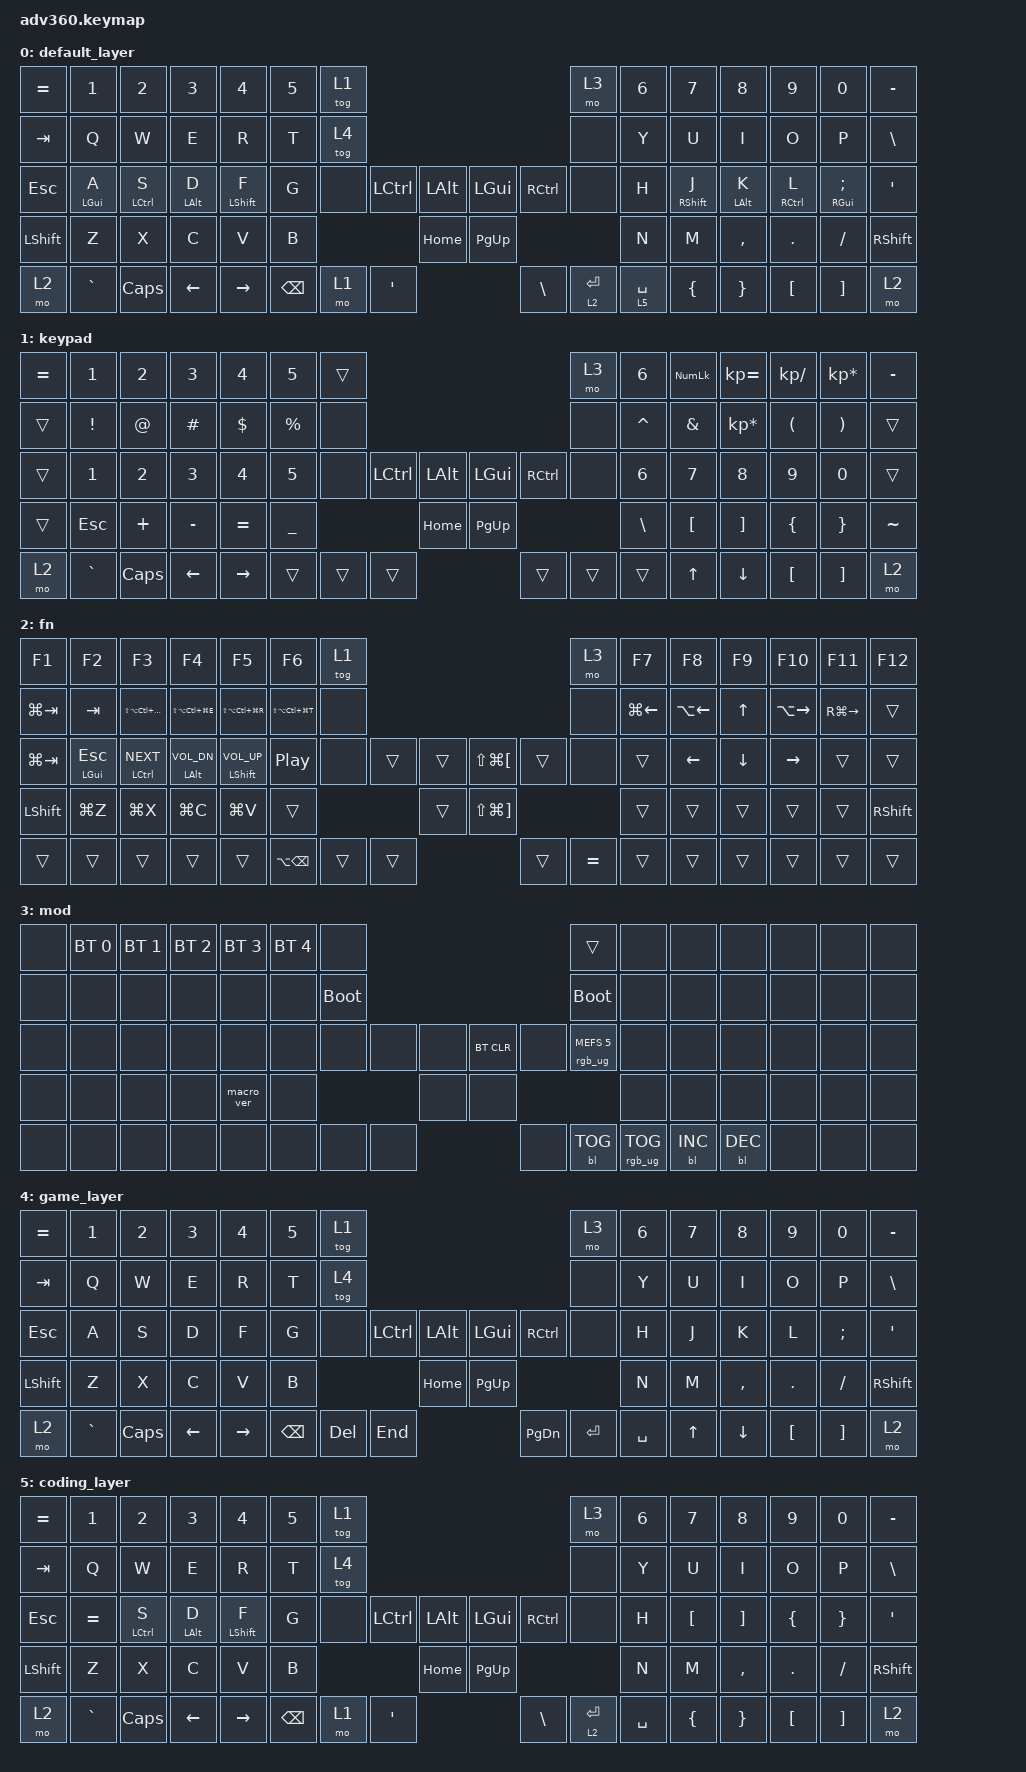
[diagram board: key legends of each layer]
#include <behaviors.dtsi>
#include <dt-bindings/zmk/keys.h>
#include <dt-bindings/zmk/bt.h>
#include <dt-bindings/zmk/rgb.h>
#include <dt-bindings/zmk/backlight.h>

/ {
    behaviors {
      #include "macros.dtsi"
      #include "version.dtsi"
      #ifndef VERSION_MACRO
      macro_ver: macro_ver {
        compatible = "zmk,behavior-macro";
        label = "macro_version";
        #binding-cells = <0>;
        bindings = <&kp RET>;
      };
      #endif

      hm: homerow_mods {
          compatible = "zmk,behavior-hold-tap";
            #binding-cells = <2>;
            tapping-term-ms = <150>;
            quick-tap-ms = <0>;
            flavor = "tap-preferred";
            bindings = <&kp>, <&kp>;
      };

      bhm: balanced_homerow_mods {
            compatible = "zmk,behavior-hold-tap";
            #binding-cells = <2>;
            tapping-term-ms = <200>;    // <---[[moderate duration]]
            quick-tap-ms = <0>;
            flavor = "balanced";
            bindings = <&kp>, <&kp>;
        };

      shm: shift_hr_mod {
          compatible = "zmk,behavior-hold-tap";
          label = "SHIFT_HOMEROW_MODS";
          #binding-cells = <2>;
          tapping-term-ms = <130>;
          quick_tap_ms = <125>;
          flavor = "tap-preferred";
          require-prior-idle-ms = <100>;
          bindings = <&kp>, <&kp>;
      };

      lh_pht: left_positional_hold_tap {
            compatible = "zmk,behavior-hold-tap";
            #binding-cells = <2>;
            flavor = "tap-unless-interrupted";
            tapping-term-ms = <100>;                        // <---[[produces tap if held longer than tapping-term-ms]]
            quick-tap-ms = <200>;
            bindings = <&kp>, <&kp>;
            hold-trigger-key-positions = <10 11 12 13 14 15 16 17 18 19>;    // <---[[right-hand keys]]
        };

        rh_pht: right_positional_hold_tap {
            compatible = "zmk,behavior-hold-tap";
            #binding-cells = <2>;
            flavor = "tap-unless-interrupted";
            tapping-term-ms = <100>;                        // <---[[produces tap if held longer than tapping-term-ms]]
            quick-tap-ms = <200>;
            bindings = <&kp>, <&kp>;
            hold-trigger-key-positions = <0 1 2 3 4 5 6 7 8 9>;    // <---[[left-hand keys]]
        };
    };

  keymap {
    compatible = "zmk,keymap";

    default_layer {
      bindings = <
        &kp EQUAL &kp N1    &kp N2   &kp N3   &kp N4     &kp N5 &tog 1                                                           &mo 3 &kp N6 &kp N7 &kp N8    &kp N9   &kp N0   &kp MINUS
        &kp TAB   &kp Q     &kp W    &kp E    &kp R      &kp T  &tog 4                                                           &none &kp Y  &kp U  &kp I     &kp O    &kp P    &kp BSLH
        &kp ESC   &hm LGUI A     &hm LCTRL S    &hm LALT D    &hm LSHIFT F      &kp G  &none           &kp LCTRL &kp LALT &kp LGUI  &kp RCTRL           &none &kp H  &hm RSHIFT J  &hm LALT K     &hm RCTRL L    &hm RGUI SEMI &kp SQT
        &kp LSHFT &kp Z     &kp X    &kp C    &kp V      &kp B                            &kp HOME &kp PG_UP                           &kp N  &kp M  &kp COMMA &kp DOT  &kp FSLH &kp RSHFT
        &mo 2     &kp GRAVE &kp CAPS &kp LEFT &kp RIGHT                &kp BSPC &mo 1   &kp SQT  &kp BSLH &lt 2 ENTER &lt 5 SPACE              &kp LBRC &kp RBRC  &kp LBKT &kp RBKT &mo 2
      >;
    };
    keypad {
      bindings = <
        &kp EQUAL &kp N1    &kp N2   &kp N3   &kp N4     &kp N5 &trans                                                                       &mo 3 &kp N6 &kp KP_NUM &kp KP_EQUAL &kp KP_DIVIDE &kp KP_MULTIPLY &kp MINUS
        &trans  &kp EXCL &kp AT &kp HASH &kp DLLR &kp PRCNT     &none                                                                        &none &kp CARET &kp AMPS  &kp KP_MULTIPLY &kp LPAR &kp RPAR &trans
        &trans  &kp N1   &kp N2 &kp N3   &kp N4   &kp N5        &none           &kp LCTRL &kp LALT                  &kp LGUI  &kp RCTRL           &none &kp N6 &kp N7 &kp N8  &kp N9 &kp N0 &trans
        &trans  &kp ESC   &kp PLUS &kp MINUS   &kp EQUAL   &kp UNDER  &kp HOME    &kp PG_UP &kp BSLH                  &kp LBKT  &kp  RBKT     &kp LBRC &kp RBRC &kp TILDE
        &mo 2     &kp GRAVE &kp CAPS &kp LEFT &kp RIGHT                &trans &trans &trans                    &trans &trans &trans              &kp UP     &kp DOWN     &kp LBKT    &kp RBKT        &mo 2
      >;
    };
    fn {
      bindings = <
        &kp F1     &kp F2     &kp F3     &kp F4     &kp F5  &kp F6  &tog 1                                               &mo 3   &kp F7   &kp F8   &kp F9   &kp F10   &kp F11     &kp F12
        &kp LG(TAB)     &kp TAB     &kp LS(LA(LC(LG(W))))     &kp LS(LA(LC(LG(E))))     &kp LS(LA(LC(LG(R))))  &kp LS(LA(LC(LG(T))))              &none                                                                  &none  &kp LG(LEFT_ARROW)  &kp LA(LEFT_ARROW)    &kp UP_ARROW  &kp LA(RIGHT_ARROW)  &kp RG(RIGHT_ARROW)      &trans
        &kp LG(TAB)   &hm LGUI ESC   &hm LCTRL C_NEXT   &hm LALT C_VOL_DN   &shm LSHIFT C_VOL_UP &kp C_PP              &none  &trans  &trans                  &kp LS(LG(LBKT))     &trans     &none              &trans      &kp LEFT_ARROW  &kp DOWN_ARROW      &kp RIGHT_ARROW               &trans      &trans
        &kp LSHIFT  &kp LG(Z)  &kp LG(X)  &kp LG(C)  &kp LG(V)  &trans              &trans                   &kp LS(LG(RBKT))              &trans              &trans    &trans         &trans               &trans  &kp RSHIFT
        &trans     &trans     &trans     &trans     &trans          &kp LA(BACKSPACE)  &trans  &trans                            &trans  &kp EQUAL  &trans                              &trans      &trans               &trans               &trans      &trans
      >;
    };
    mod {
      bindings = <
        &none &bt BT_SEL 0 &bt BT_SEL 1 &bt BT_SEL 2 &bt BT_SEL 3 &bt BT_SEL 4 &none                                                                     &trans                 &none        &none        &none        &none &none &none
        &none &none        &none        &none        &none        &none        &bootloader                                                               &bootloader            &none        &none        &none        &none &none &none
        &none &none        &none        &none        &none        &none        &none                   &none &none &bt BT_CLR &none                      &rgb_ug RGB_MEFS_CMD 5 &none        &none        &none        &none &none &none
        &none &none        &none        &none        &macro_ver   &none                                      &none &none                                                        &none        &none        &none        &none &none &none
        &none &none        &none        &none        &none                                       &none &none &none &none      &bl BL_TOG &rgb_ug RGB_TOG                                     &bl BL_INC   &bl BL_DEC   &none &none &none
      >;
    };
    game_layer {
      bindings = <
        &kp EQUAL &kp N1    &kp N2   &kp N3   &kp N4     &kp N5 &tog 1                                                           &mo 3 &kp N6 &kp N7 &kp N8    &kp N9   &kp N0   &kp MINUS
        &kp TAB   &kp Q     &kp W    &kp E    &kp R      &kp T  &tog 4                                                            &none &kp Y  &kp U  &kp I     &kp O    &kp P    &kp BSLH
        &kp ESC   &kp A     &kp S    &kp D    &kp F      &kp G  &none           &kp LCTRL &kp LALT &kp LGUI  &kp RCTRL           &none &kp H  &kp J  &kp K     &kp L    &kp SEMI &kp SQT
        &kp LSHFT &kp Z     &kp X    &kp C    &kp V      &kp B                            &kp HOME &kp PG_UP                           &kp N  &kp M  &kp COMMA &kp DOT  &kp FSLH &kp RSHFT
        &mo 2     &kp GRAVE &kp CAPS &kp LEFT &kp RIGHT                &kp BSPC &kp DEL   &kp END  &kp PG_DN &kp ENTER &kp SPACE              &kp UP &kp DOWN  &kp LBKT &kp RBKT &mo 2
      >;
    };
    coding_layer {
      bindings = <
        &kp EQUAL &kp N1    &kp N2   &kp N3   &kp N4     &kp N5 &tog 1                                                           &mo 3 &kp N6 &kp N7 &kp N8    &kp N9   &kp N0   &kp MINUS
        &kp TAB   &kp Q     &kp W    &kp E    &kp R      &kp T  &tog 4                                                           &none &kp Y  &kp U  &kp I     &kp O    &kp P    &kp BSLH
        &kp ESC   &kp EQUAL     &hm LCTRL S    &hm LALT D    &hm LSHIFT F      &kp G  &none           &kp LCTRL &kp LALT &kp LGUI  &kp RCTRL           &none &kp H  &kp LBKT  &kp RBKT     &kp LBRC    &kp RBRC &kp SQT
        &kp LSHFT &kp Z     &kp X    &kp C    &kp V      &kp B                            &kp HOME &kp PG_UP                           &kp N  &kp M  &kp COMMA &kp DOT  &kp FSLH &kp RSHFT
        &mo 2     &kp GRAVE &kp CAPS &kp LEFT &kp RIGHT                &kp BSPC &mo 1   &kp SQT  &kp BSLH &lt 2 ENTER &kp SPACE              &kp LBRC &kp RBRC  &kp LBKT &kp RBKT &mo 2
      >;
    };
  };
};
